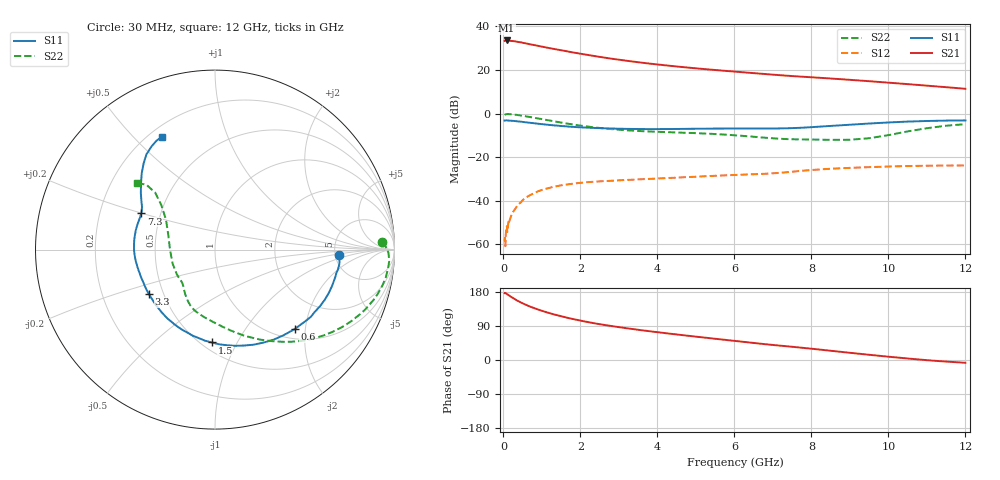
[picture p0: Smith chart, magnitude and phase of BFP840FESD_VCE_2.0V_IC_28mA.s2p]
! Infineon Technologies  Discrete & RF Semiconductors
! BFP840FESD
! VCE =  2.0 V,  IC =  28 mA
! Common Emitter S-Parameters:  May 2012
# GHz  S  MA  R  50
!  f  S11  S21  S12  S22
! GHz  MAG  ANG  MAG  ANG  MAG  ANG  MAG  ANG
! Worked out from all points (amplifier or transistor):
!   103 points, 30 MHz to 12 GHz, reference 50 ohm
!   highest |S21| = 33.6 dB at 80 MHz (marker M1)
!   |S21| within 3 dB of that: start of sweep to 1.046 GHz
!   unconditionally stable (mu >= 1): 5.501 GHz to end of sweep
!   at 400 MHz: K = 0.22, MSG = 37.2 dB, |S12| = -41.5 dB
!   at 3.7 GHz: K = 0.81, MSG = 26.6 dB, |S12| = -30.1 dB
!   at 12 GHz: K = 1.07, MAG = 15.9 dB, |S12| = -23.8 dB
!   S11 on the Smith chart (normalised r, x): 30 MHz: 5.39, -0.62; 600 MHz: 1.20, -1.75; 1.5 GHz: 0.56, -0.79; 3.3 GHz: 0.42, -0.25; 7.3 GHz: 0.39, +0.20; 12 GHz: 0.25, +0.61
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0.03  0.6906 -2.5  46.59 176.4  0.0012 85.3  0.932 2.5
0.04  0.6921 -3.3  46.83 175.9  0.0014 92.9  0.945 1.6
0.05  0.6941 -4.1  47.17 176.8  0.0009 85.1  0.9541 0.7
0.08  0.6971 -6.8  47.71 174.7  0.0021 91.4  0.968 -1.8
0.25  0.6787 -20.7  46.14 163.4  0.0055 83.3  0.9539 -12.1
0.35  0.6646 -28.4  44.58 157.2  0.0074 74.2  0.9303 -17.1
0.45  0.6524 -35.0  43.3 151.9  0.0091 71.4  0.9026 -21.5
0.6  0.6267 -45.0  40.56 144.9  0.012 67.9  0.8577 -27.7
0.8  0.5988 -56.9  37.36 136.8  0.0149 62.6  0.8 -34.9
1  0.5713 -68.1  34.4 129.8  0.0176 58.6  0.7439 -41.5
1.3  0.5366 -83.1  30.59 120.7  0.0208 53.1  0.6671 -50.3
1.5  0.5176 -92.0  28.38 115.5  0.0225 50.2  0.6209 -55.6
1.8  0.4954 -104.5  25.38 108.2  0.0245 46.5  0.5623 -63.2
2.1  0.4784 -115.1  22.89 101.9  0.0261 43.8  0.5149 -69.9
2.6  0.4589 -130.1  19.39 92.9  0.0281 40.8  0.4571 -79.4
3.3  0.4437 -146.3  15.88 82.5  0.0301 39.0  0.4074 -90.3
4.1  0.4402 -161.1  13.12 72.2  0.0325 38.5  0.3782 -100.1
6.1  0.4529 171.1  9.052 49.4  0.0391 38.8  0.3126 -120.5
7.3  0.4576 153.9  7.47 36.8  0.0444 41.6  0.2604 -134.5
8.5  0.5195 142.7  6.382 24.4  0.054 38.1  0.2487 -161.7
10.5  0.6537 125.8  4.741 4.0  0.0623 29.8  0.3889 140.3
12  0.6958 115.1  3.704 -7.3  0.0642 26.2  0.5712 139.4
